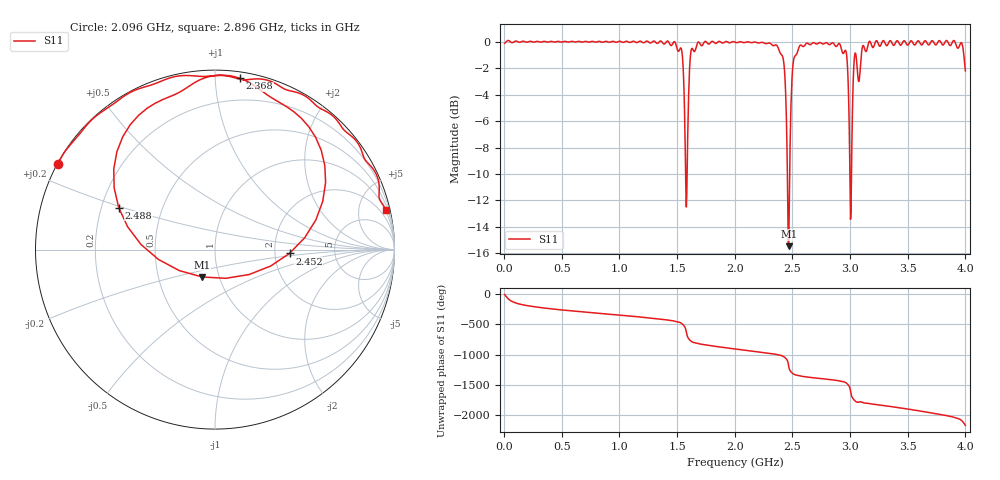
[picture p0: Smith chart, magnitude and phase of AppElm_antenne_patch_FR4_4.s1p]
! TOUCHSTONE file generated by CST MICROWAVE STUDIO
! Date and time: Tue Jun 14 13:15:12 2022
! Project name: AppElm_antenne_patch_FR4.cst
! Parameters = {L=45; W=58.5; e=0.035; h=1.6; lambda=0.190476; ls=120; w0=2.54; w1=0.847; ws=120; y0=16.2; y1=23.8}
! Header version: 2018
! Port assignment regex: !\s*Touchstone port\s*([0-9]+)\s*=\s*(CST MWS port|CST DS port)\s*([0-9]+|Zmin|Zmax)\s*\(\"(.*)\"\)(\s*mode\s*([0-9]+))?.*
! Touchstone port assignment:
! Touchstone port 1 = CST MWS port 1 ("")
# GHz S MA R 50
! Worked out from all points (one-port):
!   1000 points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, 4 MHz to 4 GHz, reference 50 ohm
!   lowest |S11| = -15.5 dB at 2.468 GHz (marker M1), VSWR 1.41, Z = 41.4 - j13 ohm
!   |S11| at or under -10 dB: 1.574 GHz to 1.587 GHz (12.76 MHz wide, 0.807 % of centre); 2.456 GHz to 2.476 GHz (19.59 MHz wide, 0.794 % of centre); 2.998418 GHz to 3.012151 GHz (13.73 MHz wide, 0.457 % of centre)
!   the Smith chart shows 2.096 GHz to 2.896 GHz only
!   S11 on the Smith chart (normalised r, x): 2.096 GHz: 0.00, +0.25; 2.368 GHz: 0.04, +1.16; 2.452 GHz: 2.42, -0.12; 2.488 GHz: 0.27, +0.19; 2.896 GHz: 0.86, +8.58
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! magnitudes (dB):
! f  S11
! 4 MHz  -0.1
! 504 MHz  0.0
! 1.004 GHz  0.0
! 1.504 GHz  -0.7
! 1.54 GHz  -0.7
! 1.568 GHz  -6.8
! 1.58 GHz  -12.5
! 1.592 GHz  -7.1
! 1.616 GHz  -1.0
! 1.632 GHz  -0.5
! 2.004 GHz  0.0
! 2.096 GHz  0.0
! 2.368 GHz  -0.3
! 2.424 GHz  -1.5
! 2.452 GHz  -7.6
! 2.468 GHz  -15.5
! 2.488 GHz  -4.7
! 2.504 GHz  -1.8
! 2.572 GHz  -0.3
! 2.896 GHz  -0.2
! 2.964 GHz  -0.7
! 3.004 GHz  -13.4
! 3.016 GHz  -7.5
! 3.044 GHz  -0.9
! 3.116 GHz  -0.3
! 3.504 GHz  -0.2
! 3.9 GHz  0.1
! 4 GHz  -2.2
